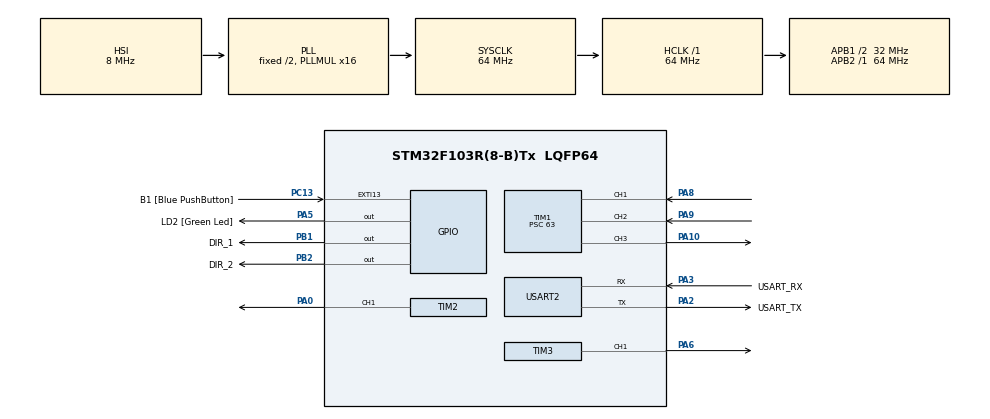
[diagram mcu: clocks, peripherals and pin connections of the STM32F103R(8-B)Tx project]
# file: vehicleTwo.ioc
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Mcu.Family=STM32F1
Mcu.Name=STM32F103R(8-B)Tx
Mcu.Package=LQFP64
NVIC.EXTI15_10_IRQn=true\:0\:0\:false\:false\:true\:true\:true
NVIC.PriorityGroup=NVIC_PRIORITYGROUP_4
NVIC.TIM1_CC_IRQn=true\:0\:0\:false\:false\:true\:true\:true
PA0-WKUP.Signal=S_TIM2_CH1_ETR
PA10.Signal=S_TIM1_CH3
PA13.GPIO_Label=TMS
PA13.Mode=Serial_Wire
PA13.Signal=SYS_JTMS-SWDIO
PA14.GPIO_Label=TCK
PA14.Mode=Serial_Wire
PA14.Signal=SYS_JTCK-SWCLK
PA2.GPIO_Label=USART_TX
PA2.GPIO_Mode=GPIO_MODE_AF_PP
PA2.GPIO_PuPd=GPIO_NOPULL
PA2.GPIO_Speed=GPIO_SPEED_FREQ_LOW
PA2.Mode=Asynchronous
PA2.Signal=USART2_TX
PA3.GPIO_Label=USART_RX
PA3.GPIO_Mode=GPIO_MODE_AF_PP
PA3.GPIO_PuPd=GPIO_NOPULL
PA3.GPIO_Speed=GPIO_SPEED_FREQ_LOW
PA3.Mode=Asynchronous
PA3.Signal=USART2_RX
PA5.GPIO_Label=LD2 [Green Led]
PA5.GPIO_ModeDefaultOutputPP=GPIO_MODE_OUTPUT_PP
PA5.GPIO_PuPd=GPIO_NOPULL
PA5.GPIO_Speed=GPIO_SPEED_FREQ_LOW
PA5.Signal=GPIO_Output
PA6.Signal=S_TIM3_CH1
PA8.Signal=S_TIM1_CH1
PA9.Signal=S_TIM1_CH2
PB1.GPIO_Label=DIR_1
PB1.Signal=GPIO_Output
PB2.GPIO_Label=DIR_2
PB2.Signal=GPIO_Output
PB3.GPIO_Label=SWO
PB3.Signal=SYS_JTDO-TRACESWO
PC13-TAMPER-RTC.GPIO_Label=B1 [Blue PushButton]
PC13-TAMPER-RTC.GPIO_ModeDefaultEXTI=GPIO_MODE_IT_RISING
PC13-TAMPER-RTC.GPIO_PuPd=GPIO_NOPULL
PC13-TAMPER-RTC.Signal=GPXTI13
PC14-OSC32_IN.Mode=LSE-External-Oscillator
PC14-OSC32_IN.Signal=RCC_OSC32_IN
PC15-OSC32_OUT.Mode=LSE-External-Oscillator
PC15-OSC32_OUT.Signal=RCC_OSC32_OUT
PD0-OSC_IN.Mode=HSE-External-Clock-Source
PD0-OSC_IN.Signal=RCC_OSC_IN
PD1-OSC_OUT.Mode=HSE-External-Clock-Source
PD1-OSC_OUT.Signal=RCC_OSC_OUT
ProjectManager.HeapSize=0x200
ProjectManager.StackSize=0x400
ProjectManager.TargetToolchain=STM32CubeIDE
RCC.AHBFreq_Value=64000000
RCC.APB1CLKDivider=RCC_HCLK_DIV2
RCC.APB1Freq_Value=32000000
RCC.APB1TimFreq_Value=64000000
RCC.APB2Freq_Value=64000000
RCC.APB2TimFreq_Value=64000000
RCC.HCLKFreq_Value=64000000
RCC.PLLMUL=RCC_PLL_MUL16
RCC.RTCClockSelection=RCC_RTCCLKSOURCE_LSE
RCC.SYSCLKFreq_VALUE=64000000
RCC.SYSCLKSource=RCC_SYSCLKSOURCE_PLLCLK
RCC.USBFreq_Value=64000000
SH.S_TIM1_CH1.0=TIM1_CH1,Input_Capture1_from_TI1
SH.S_TIM1_CH2.0=TIM1_CH2,TriggerSource_TI2FP2
SH.S_TIM1_CH3.0=TIM1_CH3,PWM Generation3 CH3
SH.S_TIM2_CH1_ETR.0=TIM2_CH1,PWM Generation1 CH1
SH.S_TIM3_CH1.0=TIM3_CH1,PWM Generation1 CH1
TIM1.AutoReloadPreload=TIM_AUTORELOAD_PRELOAD_ENABLE
TIM1.Channel-Input_Capture1_from_TI1=TIM_CHANNEL_1
TIM1.Channel-Input_Capture2_from_TI1_63=TIM_CHANNEL_2
TIM1.Channel-PWM\ Generation3\ CH3=TIM_CHANNEL_3
TIM1.ICPolarity_CH2=TIM_INPUTCHANNELPOLARITY_FALLING
TIM1.Prescaler=63
TIM1.Pulse-PWM\ Generation3\ CH3=11
TIM2.AutoReloadPreload=TIM_AUTORELOAD_PRELOAD_ENABLE
TIM2.Channel-PWM\ Generation1\ CH1=TIM_CHANNEL_1
TIM2.Period=19999
TIM2.Prescaler=63
TIM3.AutoReloadPreload=TIM_AUTORELOAD_PRELOAD_ENABLE
TIM3.Channel-PWM\ Generation1\ CH1=TIM_CHANNEL_1
TIM3.Period=999
TIM3.Prescaler=63
USART2.VirtualMode=VM_ASYNC
VP_TIM1_VS_ClockSourceINT.Mode=Internal
VP_TIM1_VS_ControllerModeReset.Mode=Reset Mode
VP_TIM1_VS_indirect_ch1.Mode=Input_Capture2_from_TI1_63
VP_TIM2_VS_ClockSourceINT.Mode=Internal
VP_TIM3_VS_ClockSourceINT.Mode=Internal
board=NUCLEO-F103RB

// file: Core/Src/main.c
/* USER CODE BEGIN Header */
/**
  ******************************************************************************
  * @file           : main.c
  * @brief          : Main program body
  ******************************************************************************
  * @attention
  *
  * <h2><center>&copy; Copyright (c) 2021 STMicroelectronics.
  * All rights reserved.</center></h2>
  *
  * This software component is licensed by ST under BSD 3-Clause license,
  * the "License"; You may not use this file except in compliance with the
  * License. You may obtain a copy of the License at:
  *                        opensource.org/licenses/BSD-3-Clause
  *
  ******************************************************************************
  */
/* USER CODE END Header */
#include "main.h"
#include "tim.h"
#include "usart.h"
#include "gpio.h"

/* USER CODE BEGIN Includes */
#include <stdio.h>
/* USER CODE END Includes */

/* USER CODE BEGIN PV */
int distance;
int go;
//uint8_t len;
//char buf[30];
/* USER CODE END PV */

void SystemClock_Config(void);

int main(void)
{

  /* MCU Configuration--------------------------------------------------------*/

  /* Reset of all peripherals, Initializes the Flash interface and the Systick. */
  HAL_Init();

  /* Configure the system clock */
  SystemClock_Config();

  /* Initialize all configured peripherals */
  MX_GPIO_Init();
  MX_USART2_UART_Init();
  MX_TIM1_Init();
  MX_TIM2_Init();
  MX_TIM3_Init();
  /* USER CODE BEGIN 2 */
  HAL_TIM_Base_Start(&htim1);
  HAL_TIM_PWM_Start(&htim1, TIM_CHANNEL_3);
  HAL_TIM_IC_Start(&htim1, TIM_CHANNEL_1);
  HAL_TIM_IC_Start_IT(&htim1, TIM_CHANNEL_2);
  HAL_TIM_PWM_Start(&htim2, TIM_CHANNEL_1);
  HAL_TIM_PWM_Start(&htim3, TIM_CHANNEL_1);
  go = 0;
  /* USER CODE END 2 */

  /* Infinite loop */
  /* USER CODE BEGIN WHILE */
  while (1)
  {
	  if (go == 1) {
		  HAL_GPIO_WritePin(DIR_2_GPIO_Port, DIR_2_Pin, 1);
		  HAL_GPIO_WritePin(DIR_1_GPIO_Port, DIR_1_Pin, 0);
		  __HAL_TIM_SET_COMPARE(&htim3, TIM_CHANNEL_1, 999);
		  __HAL_TIM_SET_COMPARE(&htim2, TIM_CHANNEL_1, 1050);
		  //len = sprintf(buf, "Distance: %2d", distance);
		  //HAL_UART_Transmit(&huart2, (uint8_t*)buf, len, 1000);
		  if (distance < 10) {
			  __HAL_TIM_SET_COMPARE(&htim3, TIM_CHANNEL_1, 999);
			  __HAL_TIM_SET_COMPARE(&htim2, TIM_CHANNEL_1, 1900);
			  HAL_GPIO_WritePin(DIR_2_GPIO_Port, DIR_2_Pin, 0);
			  HAL_GPIO_WritePin(DIR_1_GPIO_Port, DIR_1_Pin, 1);
			  HAL_Delay(11000);
		  }
	  } else {
		  __HAL_TIM_SET_COMPARE(&htim3, TIM_CHANNEL_1, 0);
		  __HAL_TIM_SET_COMPARE(&htim2, TIM_CHANNEL_1, 1050);
	  }

    /* USER CODE END WHILE */

}}

void SystemClock_Config(void)
{
  RCC_OscInitTypeDef RCC_OscInitStruct = {0};
  RCC_ClkInitTypeDef RCC_ClkInitStruct = {0};

  /** Initializes the RCC Oscillators according to the specified parameters
  * in the RCC_OscInitTypeDef structure.
  */
  RCC_OscInitStruct.OscillatorType = RCC_OSCILLATORTYPE_HSI;
  RCC_OscInitStruct.HSIState = RCC_HSI_ON;
  RCC_OscInitStruct.HSICalibrationValue = RCC_HSICALIBRATION_DEFAULT;
  RCC_OscInitStruct.PLL.PLLState = RCC_PLL_ON;
  RCC_OscInitStruct.PLL.PLLSource = RCC_PLLSOURCE_HSI_DIV2;
  RCC_OscInitStruct.PLL.PLLMUL = RCC_PLL_MUL16;
  if (HAL_RCC_OscConfig(&RCC_OscInitStruct) != HAL_OK)
  {
    Error_Handler();
  }
  /** Initializes the CPU, AHB and APB buses clocks
  */
  RCC_ClkInitStruct.ClockType = RCC_CLOCKTYPE_HCLK|RCC_CLOCKTYPE_SYSCLK
                              |RCC_CLOCKTYPE_PCLK1|RCC_CLOCKTYPE_PCLK2;
  RCC_ClkInitStruct.SYSCLKSource = RCC_SYSCLKSOURCE_PLLCLK;
  RCC_ClkInitStruct.AHBCLKDivider = RCC_SYSCLK_DIV1;
  RCC_ClkInitStruct.APB1CLKDivider = RCC_HCLK_DIV2;
  RCC_ClkInitStruct.APB2CLKDivider = RCC_HCLK_DIV1;

  if (HAL_RCC_ClockConfig(&RCC_ClkInitStruct, FLASH_LATENCY_2) != HAL_OK)
  {
    Error_Handler();
  }
}

/* USER CODE BEGIN 4 */
void HAL_GPIO_EXTI_Callback(uint16_t GPIO_Pin) {
	if(GPIO_Pin == B1_Pin) {
		if(go == 0) {
			go = 1;
		}
		else {
			go = 0;
		}
	}
}

void HAL_TIM_IC_CaptureCallback(TIM_HandleTypeDef *htim) {
	if (htim == &htim1) {
		uint16_t time;
		time = (uint16_t)((uint16_t)__HAL_TIM_GET_COMPARE(htim, TIM_CHANNEL_2) - (uint16_t)__HAL_TIM_GetCompare(htim, TIM_CHANNEL_1));
		distance = time / 58;
		HAL_TIM_IC_Start_IT(htim, TIM_CHANNEL_2);
	}
}
/* USER CODE END 4 */

void Error_Handler(void)
{
  __disable_irq();
  while (1)
  {
  }
}

/************************ (C) COPYRIGHT STMicroelectronics *****END OF FILE****/
